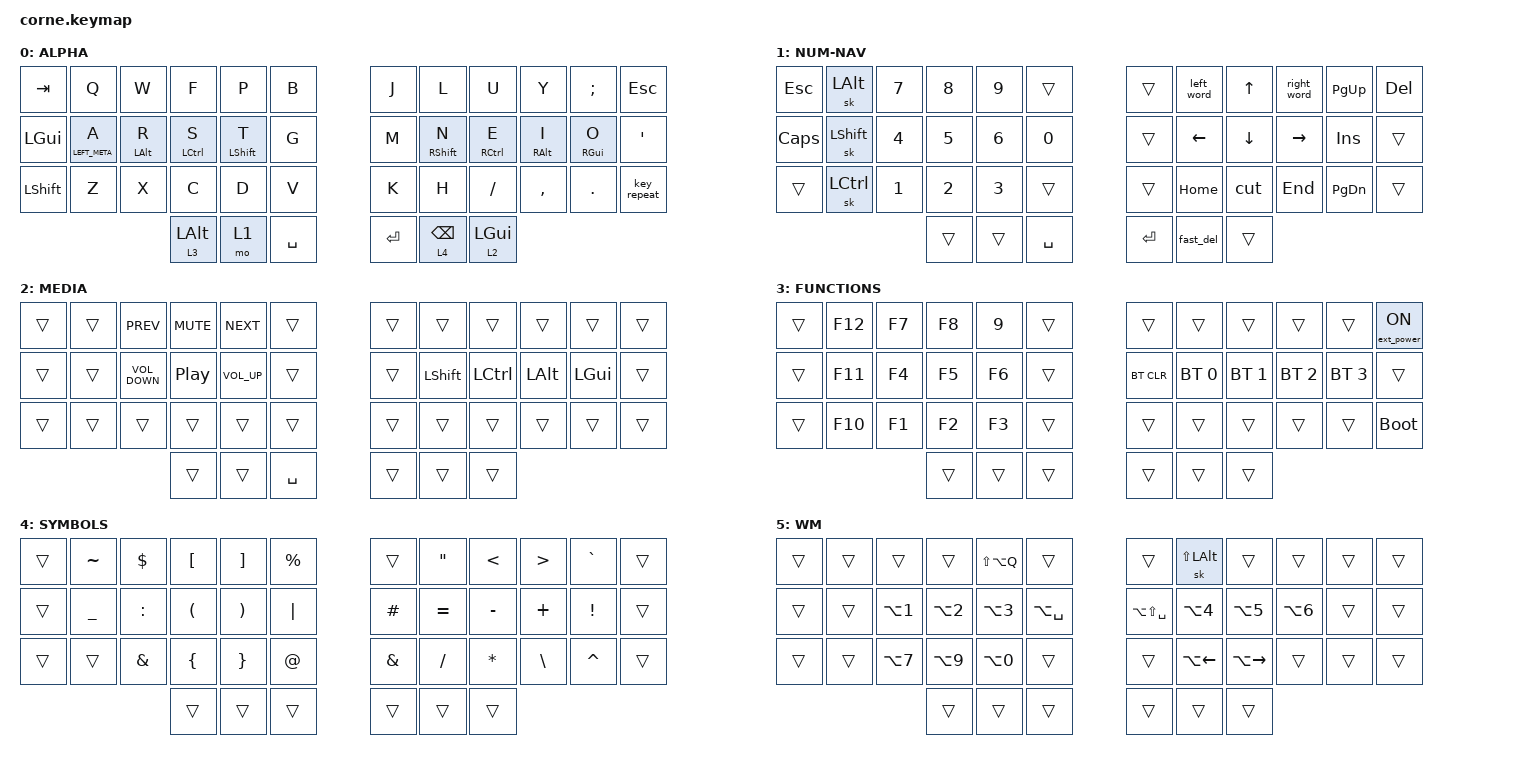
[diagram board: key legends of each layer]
/*
 * Copyright (c) 2020 The ZMK Contributors
 *
 * SPDX-License-Identifier: MIT
 */

#include <behaviors.dtsi>
#include <dt-bindings/zmk/bt.h>
#include <dt-bindings/zmk/ext_power.h>
#include <dt-bindings/zmk/keys.h>

/ {
    behaviors {
        hml: homerow_mods_left {
            compatible = "zmk,behavior-hold-tap";
            label = "HOMEROW_MODS_LEFT_HAND";
            bindings = <&kp>, <&kp>;

            #binding-cells = <2>;
            tapping-term-ms = <280>;
            hold-trigger-key-positions = <6 18 30 39 40 7 8 9 10 11 19 20 21 22 23 31 32 33 34 35 41>;
            quick-tap-ms = <175>;
            require-prior-idle-ms = <150>;
            flavor = "tap-preferred";
        };

        hmr: homerow_mods_right {
            compatible = "zmk,behavior-hold-tap";
            label = "HOMEROW_MODS_RIGHT_HAND";
            bindings = <&kp>, <&kp>;

            #binding-cells = <2>;
            tapping-term-ms = <280>;
            hold-trigger-key-positions = <0 1 2 3 4 5 12 13 14 15 16 17 24 25 26 27 28 29 36 37 38>;
            quick-tap-ms = <175>;
            require-prior-idle-ms = <150>;
            flavor = "tap-preferred";
        };
    };

    combos {
        compatible = "zmk,combos";

        Copy {
            bindings = <&kp LC(INSERT)>;
            key-positions = <3 2 4>;
            layers = <0>;
        };

        Paste {
            bindings = <&kp LS(INS)>;
            key-positions = <14 15 16>;
            layers = <0>;
        };

        Cut {
            bindings = <&kp LS(DELETE)>;
            key-positions = <26 28 27>;
            layers = <0>;
        };

        huh {
            bindings = <&kp QUESTION>;
            key-positions = <19 8>;
        };

        chin {
            bindings = <&kp EXCLAMATION>;
            key-positions = <3 16>;
        };

        caps {
            bindings = <&caps_word>;
            key-positions = <17 18>;
        };

        minus {
            bindings = <&kp MINUS>;
            key-positions = <15 14>;
        };

        equal {
            bindings = <&kp EQUAL>;
            key-positions = <15 16>;
        };

        under {
            bindings = <&kp UNDER>;
            key-positions = <15 28>;
        };

        plus {
            bindings = <&kp PLUS>;
            key-positions = <16 17>;
        };

        dobledot {
            bindings = <&kp COLON>;
            key-positions = <19 20>;
        };

        doubleQ {
            bindings = <&kp DOUBLE_QUOTES>;
            key-positions = <20 21>;
        };

        oParenthesis {
            bindings = <&kp LEFT_PARENTHESIS>;
            key-positions = <7 8>;
        };

        cParenthesis {
            bindings = <&kp RIGHT_PARENTHESIS>;
            key-positions = <8 9>;
        };

        oBracket {
            bindings = <&kp LEFT_BRACKET>;
            key-positions = <2 3>;
        };

        cBracket {
            bindings = <&kp RIGHT_BRACKET>;
            key-positions = <3 4>;
        };

        oBrace {
            bindings = <&kp LEFT_BRACE>;
            key-positions = <26 27>;
        };

        cBrace {
            bindings = <&kp RIGHT_BRACE>;
            key-positions = <27 28>;
        };

        minor {
            bindings = <&kp LESS_THAN>;
            key-positions = <31 32>;
        };

        greater {
            bindings = <&kp GREATER_THAN>;
            key-positions = <32 33>;
        };

        arst {
            bindings = <&kp CARET>;
            key-positions = <19 8 21>;
        };

        ivSlash {
            bindings = <&kp BACKSLASH>;
            key-positions = <20 33>;
        };

        asterisk {
            bindings = <&kp ASTRK>;
            key-positions = <7 8 21>;
        };
    };

    macros {
        cut: cut {
            compatible = "zmk,behavior-macro";
            #binding-cells = <0>;
            bindings = <&kp LS(DEL)>;
            label = "CUT";
        };

        copy: copy {
            compatible = "zmk,behavior-macro";
            #binding-cells = <0>;
            bindings = <&kp LC(INS)>;
            label = "COPY";
        };

        paste: paste {
            compatible = "zmk,behavior-macro";
            #binding-cells = <0>;
            bindings = <&kp LS(INS)>;
            label = "PASTE";
        };

        left_word: left_word {
            compatible = "zmk,behavior-macro";
            #binding-cells = <0>;
            bindings = <&kp LC(LEFT)>;
            label = "LEFT_WORD";
        };

        right_word: right_word {
            compatible = "zmk,behavior-macro";
            #binding-cells = <0>;
            bindings = <&kp LC(RIGHT)>;
            label = "RIGHT_WORD";
        };

        fast_del: fast_del {
            compatible = "zmk,behavior-macro";
            #binding-cells = <0>;
            bindings = <&kp LC(BACKSPACE)>;
            label = "FAST_DEL";
        };
    };

    keymap {
        compatible = "zmk,keymap";

        alpha {
            display-name = "ALPHA";

            // -----------------------------------------------------------------------------------------
            // |  TAB |  Q  |  W  |  E  |  R  |  T  |   |  Y  |  U   |  I  |  O  |  P  | BKSP |
            // | CTRL |  A  |  S  |  D  |  F  |  G  |   |  H  |  J   |  K  |  L  |  ;  |  '   |
            // | SHFT |  Z  |  X  |  C  |  V  |  B  |   |  N  |  M   |  ,  |  .  |  /  | ESC  |
            //                    | GUI | LWR | SPC |   | ENT | RSE  | ALT |

            bindings = <
&kp TAB       &kp Q             &kp W        &kp F                &kp P              &kp B        &kp J      &kp L               &kp U                 &kp Y             &kp SEMICOLON     &kp ESCAPE
&kp LEFT_GUI  &hml LEFT_META A  &hml LALT R  &hml LEFT_CONTROL S  &hml LEFT_SHIFT T  &kp G        &kp M      &hmr RIGHT_SHIFT N  &hmr RIGHT_CONTROL E  &hmr RIGHT_ALT I  &hmr RIGHT_GUI O  &kp SQT
&kp LSHFT     &kp Z             &kp X        &kp C                &kp D              &kp V        &kp K      &kp H               &kp SLASH             &kp COMMA         &kp PERIOD        &key_repeat
                                             &lt 3 LEFT_ALT       &mo 1              &kp SPACE    &kp ENTER  &lt 4 BACKSPACE     &lt 2 LEFT_GUI
            >;
        };

        num-nav {
            display-name = "NUM-NAV";

            // -----------------------------------------------------------------------------------------
            // |  TAB |  1  |  2  |  3  |  4  |  5  |   |  6  |  7  |  8  |  9  |  0  | BKSP |
            // | BTCLR| BT1 | BT2 | BT3 | BT4 | BT5 |   | LFT | DWN |  UP | RGT |     |      |
            // | SHFT |     |     |     |     |     |   |     |     |     |     |     |      |
            //                    | GUI |     | SPC |   | ENT |     | ALT |

            bindings = <
&kp ESCAPE  &sk LEFT_ALT    &kp N7        &kp N8        &kp N9        &trans       &trans   &left_word      &kp UP    &right_word  &kp PAGE_UP    &kp DELETE
&kp CAPS    &sk LEFT_SHIFT  &kp NUMBER_4  &kp N5        &kp NUMBER_6  &kp N0       &trans   &kp LEFT_ARROW  &kp DOWN  &kp RIGHT    &kp INS        &trans
&trans      &sk LCTRL       &kp NUMBER_1  &kp NUMBER_2  &kp NUMBER_3  &trans       &trans   &kp HOME        &cut      &kp END      &kp PAGE_DOWN  &trans
                                          &trans        &trans        &kp SPACE    &kp RET  &fast_del       &trans
            >;
        };

        media {
            display-name = "MEDIA";

            // -----------------------------------------------------------------------------------------
            // |  TAB |  !  |  @  |  #  |  $  |  %  |   |  ^  |  &  |  *  |  (  |  )  | BKSP |
            // | CTRL |     |     |     |     |     |   |  -  |  =  |  [  |  ]  |  \  |  `   |
            // | SHFT |     |     |     |     |     |   |  _  |  +  |  {  |  }  | "|" |  ~   |
            //                    | GUI |     | SPC |   | ENT |     | ALT |

            bindings = <
&trans  &trans  &kp C_PREV         &kp C_MUTE        &kp C_NEXT       &trans       &trans  &trans          &trans            &trans        &trans        &trans
&trans  &trans  &kp C_VOLUME_DOWN  &kp C_PLAY_PAUSE  &kp C_VOLUME_UP  &trans       &trans  &kp LEFT_SHIFT  &kp LEFT_CONTROL  &kp LEFT_ALT  &kp LEFT_GUI  &trans
&trans  &trans  &trans             &trans            &trans           &trans       &trans  &trans          &trans            &trans        &trans        &trans
                                   &trans            &trans           &kp SPACE    &trans  &trans          &trans
            >;
        };

        fun {
            display-name = "FUNCTIONS";
            bindings = <
&trans  &kp F12  &kp F7  &kp F8  &kp N9  &trans    &trans      &trans        &trans        &trans        &trans        &ext_power EP_ON
&trans  &kp F11  &kp F4  &kp F5  &kp F6  &trans    &bt BT_CLR  &bt BT_SEL 0  &bt BT_SEL 1  &bt BT_SEL 2  &bt BT_SEL 3  &trans
&trans  &kp F10  &kp F1  &kp F2  &kp F3  &trans    &trans      &trans        &trans        &trans        &trans        &bootloader
                         &trans  &trans  &trans    &trans      &trans        &trans
            >;

            label = "FUNCTION";
        };

        sym {
            display-name = "SYMBOLS";
            bindings = <
&trans  &kp TILDE  &kp DOLLAR     &kp LEFT_BRACKET      &kp RIGHT_BRACKET      &kp PERCENT    &trans    &kp DOUBLE_QUOTES  &kp LESS_THAN  &kp GREATER_THAN  &kp GRAVE        &trans
&trans  &kp UNDER  &kp COLON      &kp LEFT_PARENTHESIS  &kp RIGHT_PARENTHESIS  &kp PIPE       &kp HASH  &kp EQUAL          &kp MINUS      &kp PLUS          &kp EXCLAMATION  &trans
&trans  &trans     &kp AMPERSAND  &kp LEFT_BRACE        &kp RIGHT_BRACE        &kp AT_SIGN    &kp AMPS  &kp SLASH          &kp ASTERISK   &kp BACKSLASH     &kp CARET        &trans
                                  &trans                &trans                 &trans         &trans    &trans             &trans
            >;
        };

        wm {
            bindings = <
&trans  &trans  &trans            &trans            &kp LS(LA(Q))     &trans           &trans             &sk LS(LEFT_ALT)    &trans         &trans            &trans  &trans
&trans  &trans  &kp LA(NUMBER_1)  &kp LA(NUMBER_2)  &kp LA(NUMBER_3)  &kp LA(SPACE)    &kp LA(LS(SPACE))  &kp LA(NUMBER_4)    &kp LA(N5)     &kp LA(NUMBER_6)  &trans  &trans
&trans  &trans  &kp LA(N7)        &kp LA(N9)        &kp LA(N0)        &trans           &trans             &kp LA(LEFT_ARROW)  &kp LA(RIGHT)  &trans            &trans  &trans
                                  &trans            &trans            &trans           &trans             &trans              &trans
            >;

            label = "WM";
        };
    };

    conditional_layers {
        compatible = "zmk,conditional-layers";

        wm {
            if-layers = <2 3>;
            then-layer = <5>;
        };
    };
};
